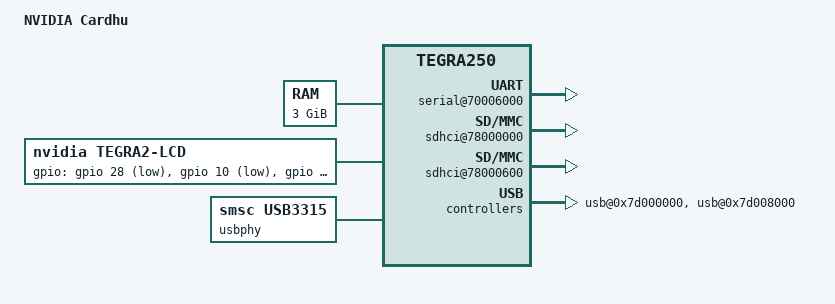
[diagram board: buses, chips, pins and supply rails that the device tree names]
/dts-v1/;

/memreserve/ 0x1c000000 0x04000000;
/include/ "../../../arch/arm/cpu/armv7/tegra3/tegra30.dtsi"

/ {
	model = "NVIDIA Cardhu";
	compatible = "nvidia,seaboard", "nvidia,tegra250";

	config {
		silent_console = <0>;
		odmdata = <0x300d8011>;
		hwid = "ARM CARDHU TEST 6666";
	};

	aliases {
		console = "/serial@70006000";
                usb0 = "/usb@0x7d008000";
                usb1 = "/usb@0x7d000000";

		sdmmc0 = "/sdhci@78000600";
		sdmmc1 = "/sdhci@78000000";
	};

	chosen {
		bootargs = "";
	};

	memory {
		device_type = "memory";
		reg = <0x80000000 0xc0000000>;
	};

	serial@70006000 {
		status = "ok";
		clock-frequency = <216000000>;
	};

	sdhci@78000000 {
		status = "ok";
		width = <4>;	/* width of SDIO port */
		removable = <1>;
		/* Parameter 3 bit 0:1=output, 0=input; bit 1:1=high, 0=low */
		cd-gpio = <&gpio 69 0>; /* card detect, gpio PI5 */
		wp-gpio = <&gpio 155 0>; /* write protect, gpio PT3 */
		power-gpio = <&gpio 31 3>; /* power enable, gpio PD7 */
	};

	sdhci@78000600 {
		status = "ok";
		width = <4>;	/* width of SDIO port */
		removable = <0>;
	};

	lcd {
		compatible = "nvidia,tegra2-lcd";
		width = <1366>;
		height = <768>;
		bits_per_pixel = <16>;
		pwfm = <&pwfm2>;
		display = <&display1>;
		frame-buffer = <0x1C022000>;

		pixel_clock = <62200000>;

		/* Timing: ref_to_sync, sync_width. back_porch, front_porch */
		horiz_timing = <11 58 58 58>;
		vert_timing = <1 4 4 4>;

		/* Parameter 3 bit 0:1=output, 0=input; bit 1:1=high, 0=low */
		gpios = <&gpio 28 3>,	/* backlight PD4 */
			<&gpio 10 3>,	/* lvds shutdown PB2 */
			<&gpio 176 3>,	/* backlight vdd PW0 */
			<&gpio 22 3>;	/* enable vdd pnl PC6 */
	};

	usb@0x7d000000 {
		status = "ok";
		host-mode = <1>;
	};

	usbphy: usbphy@0 {
		compatible = "smsc,usb3315";
		status = "ok";
	};

	usb@0x7d008000 {
		status = "ok";
		utmi = <&usbphy>;
		host-mode = <0>;
	};
};
